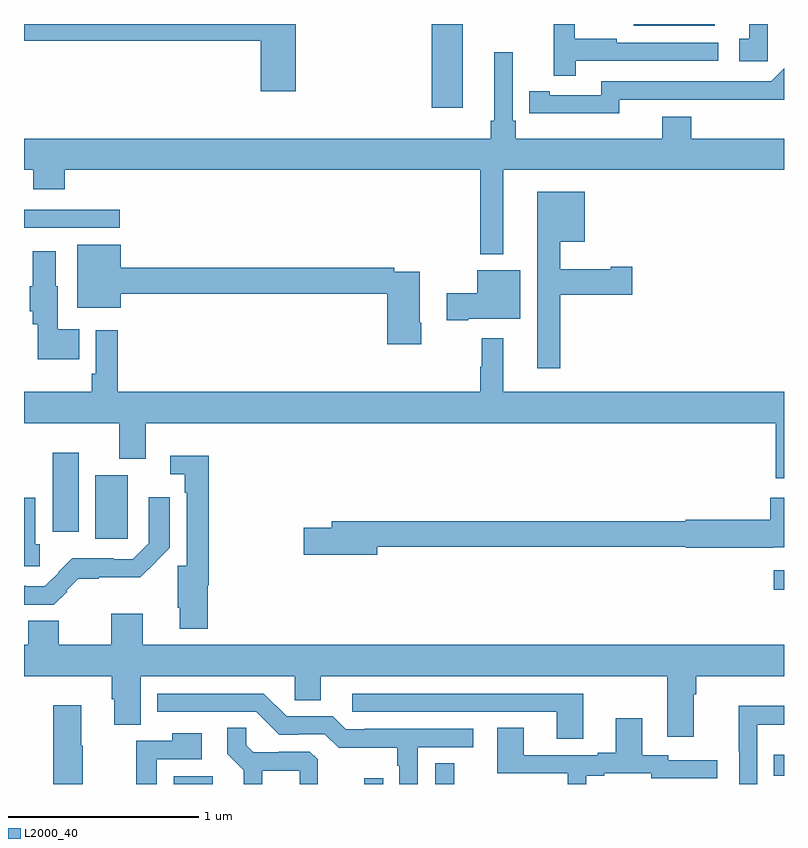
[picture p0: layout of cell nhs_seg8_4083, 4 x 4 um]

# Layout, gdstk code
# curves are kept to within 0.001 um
import gdstk
lib = gdstk.Library(unit=1e-6, precision=1e-09)
def R(c, l, rs):  # rectangles x0, y0, x1, y1
    for r in rs: c.add(gdstk.rectangle(r[:2], r[2:], *l))
def P(c, l, *ps):  # polygons
    for p in ps: c.add(gdstk.Polygon(p, *l))
L2000_40 = (2000, 40)

nhs_seg8_4083 = lib.new_cell('nhs_seg8_4083')
R(nhs_seg8_4083, L2000_40, [(361.787,1147.9,361.993,1147.942), (362.79,1147.9,362.891,1147.93), (363.165,1147.9,363.264,1148.009), (364.945,1147.944,365,1148.053), (364.947,1148.923,365,1149.024), (361.376,1149.192,361.546,1149.526), (361.151,1149.228,361.288,1149.643), (361,1150.827,361.504,1150.923), (363.146,1151.46,363.31,1151.9), (364.209,1151.891,364.636,1151.9)])
P(nhs_seg8_4083, L2000_40, [(363.905,1151.706),(364.654,1151.706),(364.654,1151.802),(364.121,1151.802),(364.121,1151.822),(363.898,1151.822),(363.898,1151.9),(363.777,1151.9),(363.777,1151.899),(363.788,1151.899),(363.788,1151.628),(363.905,1151.628)],
  [(362.429,1151.9),(361,1151.9),(361,1151.812),(362.246,1151.812),(362.246,1151.547),(362.429,1151.547)],
  [(364.914,1151.9),(364.817,1151.9),(364.817,1151.823),(364.764,1151.823),(364.764,1151.703),(364.914,1151.703)],
  [(363.523,1151.132),(365,1151.132),(365,1151.296),(364.511,1151.296),(364.511,1151.413),(364.358,1151.413),(364.358,1151.296),(363.587,1151.296),(363.587,1151.392),(363.573,1151.392),(363.573,1151.752),(363.476,1151.752),(363.476,1151.392),(363.457,1151.392),(363.457,1151.296),(361,1151.296),(361,1151.132),(361.049,1151.132),(361.049,1151.03),(361.214,1151.03),(361.214,1151.132),(363.402,1151.132),(363.402,1150.688),(363.523,1150.688)],
  [(364.134,1151.502),(365,1151.501),(365,1151.666),(364.932,1151.598),(364.038,1151.598),(364.038,1151.526),(363.766,1151.526),(363.766,1151.546),(363.658,1151.546),(363.658,1151.43),(364.134,1151.429)],
  [(363.823,1150.475),(364.201,1150.475),(364.201,1150.622),(364.088,1150.622),(364.088,1150.609),(363.823,1150.609),(363.823,1150.754),(363.952,1150.754),(363.952,1151.017),(363.701,1151.017),(363.701,1150.089),(363.823,1150.089)],
  [(363.09,1150.327),(363.082,1150.327),(363.082,1150.596),(362.948,1150.596),(362.948,1150.616),(361.51,1150.616),(361.51,1150.738),(361.28,1150.738),(361.28,1150.406),(361.51,1150.406),(361.51,1150.48),(362.912,1150.48),(362.912,1150.215),(363.09,1150.215)],
  [(361.292,1150.294),(361.177,1150.294),(361.177,1150.521),(361.168,1150.521),(361.168,1150.705),(361.046,1150.705),(361.046,1150.521),(361.031,1150.521),(361.031,1150.389),(361.046,1150.389),(361.046,1150.32),(361.073,1150.32),(361.073,1150.136),(361.292,1150.136)],
  [(363.337,1150.349),(363.613,1150.349),(363.613,1150.603),(363.386,1150.603),(363.386,1150.484),(363.225,1150.484),(363.225,1150.342),(363.337,1150.342)],
  [(365,1149.964),(363.523,1149.964),(363.523,1150.246),(363.409,1150.246),(363.409,1150.097),(363.402,1150.097),(363.402,1149.964),(361.493,1149.964),(361.493,1150.288),(361.377,1150.288),(361.377,1150.06),(361.357,1150.06),(361.357,1149.964),(361,1149.964),(361,1149.8),(361.502,1149.8),(361.502,1149.611),(361.642,1149.611),(361.642,1149.8),(364.957,1149.8),(364.957,1149.51),(365,1149.51)],
  [(361.967,1148.945),(361.973,1148.945),(361.973,1149.628),(361.77,1149.628),(361.77,1149.531),(361.845,1149.531),(361.845,1149.434),(361.857,1149.434),(361.857,1149.048),(361.808,1149.048),(361.808,1148.827),(361.82,1148.827),(361.82,1148.717),(361.967,1148.717)],
  [(361.227,1148.913),(361.223,1148.917),(361.285,1148.979),(361.393,1148.979),(361.393,1148.987),(361.613,1148.987),(361.768,1149.144),(361.768,1149.409),(361.656,1149.409),(361.656,1149.168),(361.572,1149.084),(361.472,1149.084),(361.472,1149.089),(361.253,1149.089),(361.179,1149.015),(361.182,1149.012),(361.11,1148.94),(361.01,1148.94),(361.01,1148.944),(361,1148.944),(361,1148.843),(361.157,1148.843)],
  [(361.083,1149.162),(361.06,1149.162),(361.06,1149.407),(361,1149.407),(361,1149.045),(361.083,1149.045)],
  [(362.86,1149.148),(364.482,1149.148),(364.482,1149.143),(364.944,1149.143),(364.944,1149.146),(365,1149.146),(365,1149.406),(364.928,1149.406),(364.928,1149.29),(364.482,1149.29),(364.482,1149.284),(362.621,1149.284),(362.621,1149.248),(362.472,1149.248),(362.472,1149.106),(362.86,1149.106)],
  [(364.525,1148.372),(364.538,1148.372),(364.538,1148.468),(365,1148.468),(365,1148.632),(361.624,1148.632),(361.624,1148.797),(361.46,1148.797),(361.46,1148.632),(361.183,1148.632),(361.183,1148.758),(361.022,1148.758),(361.022,1148.632),(361,1148.632),(361,1148.468),(361.463,1148.468),(361.463,1148.346),(361.475,1148.346),(361.475,1148.212),(361.615,1148.212),(361.615,1148.468),(362.424,1148.468),(362.424,1148.341),(362.563,1148.341),(362.563,1148.468),(364.385,1148.468),(364.385,1148.148),(364.525,1148.148)],
  [(363.943,1148.376),(362.727,1148.376),(362.727,1148.28),(363.803,1148.28),(363.803,1148.137),(363.943,1148.137)],
  [(363.072,1148.094),(363.364,1148.094),(363.364,1148.19),(362.794,1148.19),(362.794,1148.187),(362.694,1148.187),(362.625,1148.256),(362.382,1148.256),(362.262,1148.376),(361.7,1148.376),(361.7,1148.28),(362.223,1148.28),(362.343,1148.16),(362.444,1148.16),(362.444,1148.163),(362.583,1148.163),(362.656,1148.09),(362.964,1148.09),(362.964,1147.997),(362.976,1147.997),(362.976,1147.9),(363.072,1147.9)],
  [(361.308,1148.101),(361.3,1148.101),(361.3,1148.314),(361.154,1148.314),(361.154,1147.9),(361.308,1147.9)],
  [(364.86,1148.213),(365,1148.213),(365,1148.311),(364.762,1148.311),(364.762,1148.072),(364.764,1148.072),(364.764,1147.9),(364.86,1147.9)],
  [(363.958,1147.944),(364.054,1147.944),(364.054,1147.956),(364.302,1147.956),(364.302,1147.929),(364.648,1147.929),(364.648,1148.025),(364.392,1148.025),(364.392,1148.052),(364.255,1148.052),(364.255,1148.245),(364.115,1148.245),(364.115,1148.065),(364.019,1148.065),(364.019,1148.052),(363.631,1148.052),(363.631,1148.195),(363.491,1148.195),(363.491,1147.956),(363.861,1147.956),(363.861,1147.9),(363.958,1147.9)],
  [(362.255,1147.97),(362.452,1147.97),(362.452,1147.9),(362.546,1147.9),(362.546,1148.029),(362.505,1148.07),(362.34,1148.07),(362.34,1148.067),(362.206,1148.067),(362.169,1148.104),(362.169,1148.195),(362.071,1148.195),(362.071,1148.059),(362.157,1147.973),(362.157,1147.9),(362.255,1147.9)],
  [(361.698,1148.031),(361.936,1148.031),(361.936,1148.167),(361.78,1148.167),(361.78,1148.127),(361.59,1148.127),(361.59,1147.9),(361.698,1147.9)])

lib.write_gds('nhs_seg8_4083.gds')
